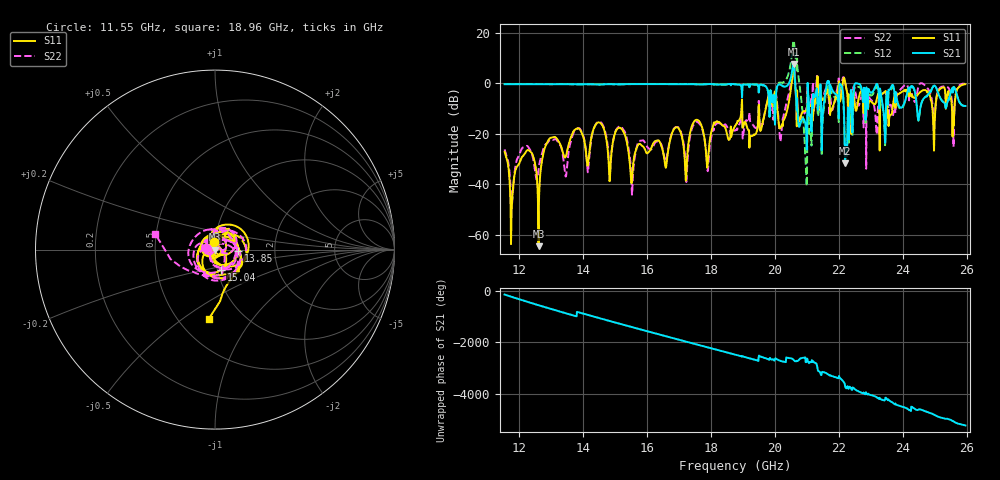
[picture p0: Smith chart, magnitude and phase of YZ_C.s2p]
!Keysight Technologies,N5242B,MY58421992,A.13.50.09
!Date: Tuesday, April 20, 2021 19:41:28
!Correction: S11(Full 2 Port(1,2))
!S21(Full 2 Port(1,2))
!S12(Full 2 Port(1,2))
!S22(Full 2 Port(1,2))
!S2P File: Measurements: S11, S21, S12, S22:
# Hz S  dB  R 50
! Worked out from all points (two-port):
!   1441 points, 11.55 GHz to 25.95 GHz, reference 50 ohm
!   highest |S21| = 7.78 dB at 20.58 GHz (marker M1); lowest = -31.6 dB at 22.19 GHz (marker M2)
!   |S21| within 3 dB of the highest: 20.53303 GHz to 20.60532 GHz (72.29 MHz wide, 0.351 % of centre)
!   lowest |S11| = -64.5 dB at 12.61 GHz (marker M3), VSWR 1.00, Z = 50 - j0.0335 ohm
!   |S11| at or under -10 dB: start of sweep to 18.95 GHz; 18.97 GHz to 19.49 GHz (512.1 MHz wide, 2.66 % of centre); 20.07 GHz to 20.39 GHz (319 MHz wide, 1.58 % of centre)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
!   |S22| runs from -49.0 to 7.8 dB; largest |S21 - S12| = 9.1
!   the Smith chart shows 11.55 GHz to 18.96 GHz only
!   S11 on the Smith chart (normalised r, x): 11.55 GHz: 0.99, +0.09; 13.85 GHz: 1.30, -0.02; 15.04 GHz: 1.04, -0.24; 18.96 GHz: 0.69, -0.63
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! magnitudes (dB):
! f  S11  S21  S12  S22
! 11.55 GHz  -27.1  -0.3  -0.3  -26.1
! 11.77 GHz  -50.6  -0.3  -0.3  -49.0
! 12.27 GHz  -26.4  -0.3  -0.3  -24.9
! 12.61 GHz  -64.5  -0.3  -0.3  -34.1
! 12.92 GHz  -22.5  -0.3  -0.3  -23.0
! 13.46 GHz  -28.9  -0.3  -0.3  -36.9
! 13.85 GHz  -17.8  -0.4  -0.3  -17.7
! 13.95 GHz  -19.3  -0.3  -0.3  -19.0
! 15.04 GHz  -18.6  -0.3  -0.3  -18.2
! 15.54 GHz  -36.6  -0.2  -0.3  -42.4
! 16.35 GHz  -22.5  -0.2  -0.2  -23.0
! 18.75 GHz  -17.0  -0.3  -0.4  -18.6
! 18.96 GHz  -8.2  -2.1  -2.1  -9.3
! 20.19 GHz  -17.0  -0.6  0.4  -20.7
! 20.58 GHz  6.1  7.8  17.1  7.8
! 20.94 GHz  -11.0  -15.3  -26.8  -11.5
! 21.15 GHz  -8.9  -15.8  -21.0  -4.4
! 22.08 GHz  -3.9  -0.9  -2.3  0.2
! 22.19 GHz  0.7  -31.6  -33.0  0.4
! 22.54 GHz  -10.7  0.1  -1.2  -5.4
! 23.55 GHz  -16.9  -2.5  -3.3  -14.1
! 25.95 GHz  -0.3  -8.9  -8.9  -0.2
